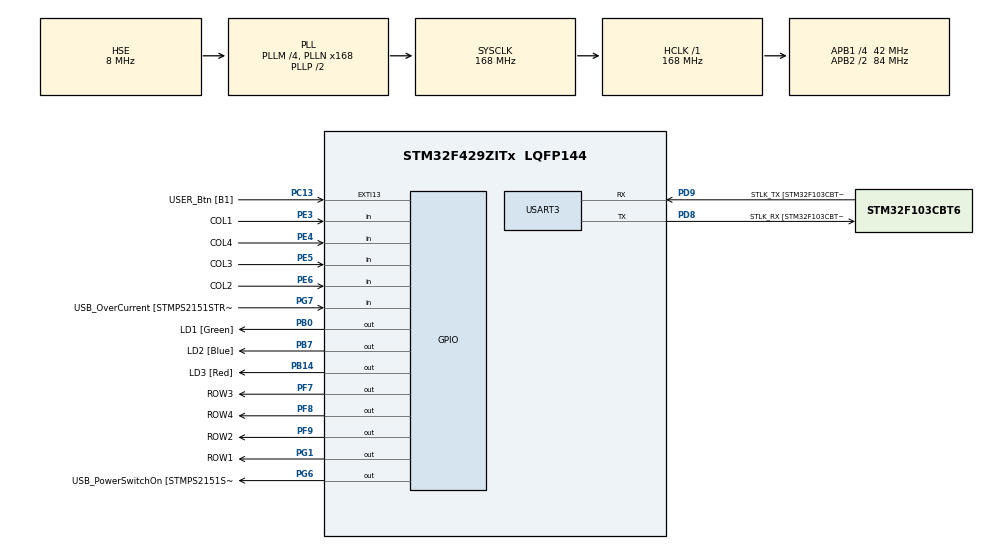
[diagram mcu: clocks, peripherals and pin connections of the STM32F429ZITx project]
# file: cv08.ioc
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Mcu.Family=STM32F4
Mcu.Name=STM32F429ZITx
Mcu.Package=LQFP144
NVIC.PriorityGroup=NVIC_PRIORITYGROUP_4
NVIC.TIM3_IRQn=true\:0\:0\:false\:false\:true\:true\:true
PA1.GPIO_Label=RMII_REF_CLK [LAN8742A-CZ-TR_REFCLK0]
PA1.Signal=ETH_REF_CLK
PA10.GPIO_Label=USB_ID
PA10.Signal=USB_OTG_FS_ID
PA11.GPIO_Label=USB_DM
PA11.Signal=USB_OTG_FS_DM
PA12.GPIO_Label=USB_DP
PA12.Signal=USB_OTG_FS_DP
PA13.GPIO_Label=TMS
PA13.Mode=Serial_Wire
PA13.Signal=SYS_JTMS-SWDIO
PA14.GPIO_Label=TCK
PA14.Mode=Serial_Wire
PA14.Signal=SYS_JTCK-SWCLK
PA2.GPIO_Label=RMII_MDIO [LAN8742A-CZ-TR_MDIO]
PA2.Signal=ETH_MDIO
PA7.GPIO_Label=RMII_CRS_DV [LAN8742A-CZ-TR_CRS_DV]
PA7.Signal=ETH_CRS_DV
PA8.GPIO_Label=USB_SOF [TP1]
PA8.Signal=USB_OTG_FS_SOF
PA9.GPIO_Label=USB_VBUS
PA9.Signal=USB_OTG_FS_VBUS
PB0.GPIO_Label=LD1 [Green]
PB0.Signal=GPIO_Output
PB13.GPIO_Label=RMII_TXD1 [LAN8742A-CZ-TR_TXD1]
PB13.Signal=ETH_TXD1
PB14.GPIO_Label=LD3 [Red]
PB14.Signal=GPIO_Output
PB7.GPIO_Label=LD2 [Blue]
PB7.Signal=GPIO_Output
PC1.GPIO_Label=RMII_MDC [LAN8742A-CZ-TR_MDC]
PC1.Signal=ETH_MDC
PC13.GPIO_Label=USER_Btn [B1]
PC13.Signal=GPXTI13
PC14/OSC32_IN.Mode=LSE-External-Oscillator
PC14/OSC32_IN.Signal=RCC_OSC32_IN
PC15/OSC32_OUT.Mode=LSE-External-Oscillator
PC15/OSC32_OUT.Signal=RCC_OSC32_OUT
PC4.GPIO_Label=RMII_RXD0 [LAN8742A-CZ-TR_RXD0]
PC4.Signal=ETH_RXD0
PC5.GPIO_Label=RMII_RXD1 [LAN8742A-CZ-TR_RXD1]
PC5.Signal=ETH_RXD1
PD8.GPIO_Label=STLK_RX [STM32F103CBT6_PA3]
PD8.Mode=Asynchronous
PD8.Signal=USART3_TX
PD9.GPIO_Label=STLK_TX [STM32F103CBT6_PA2]
PD9.Mode=Asynchronous
PD9.Signal=USART3_RX
PE3.GPIO_Label=COL1
PE3.GPIO_PuPd=GPIO_PULLUP
PE3.Signal=GPIO_Input
PE4.GPIO_Label=COL4
PE4.GPIO_PuPd=GPIO_PULLUP
PE4.Signal=GPIO_Input
PE5.GPIO_Label=COL3
PE5.GPIO_PuPd=GPIO_PULLUP
PE5.Signal=GPIO_Input
PE6.GPIO_Label=COL2
PE6.GPIO_PuPd=GPIO_PULLUP
PE6.Signal=GPIO_Input
PF7.GPIO_Label=ROW3
PF7.GPIO_ModeDefaultOutputPP=GPIO_MODE_OUTPUT_OD
PF7.Signal=GPIO_Output
PF8.GPIO_Label=ROW4
PF8.GPIO_ModeDefaultOutputPP=GPIO_MODE_OUTPUT_OD
PF8.Signal=GPIO_Output
PF9.GPIO_Label=ROW2
PF9.GPIO_ModeDefaultOutputPP=GPIO_MODE_OUTPUT_OD
PF9.Signal=GPIO_Output
PG1.GPIO_Label=ROW1
PG1.GPIO_ModeDefaultOutputPP=GPIO_MODE_OUTPUT_OD
PG1.Signal=GPIO_Output
PG11.GPIO_Label=RMII_TX_EN [LAN8742A-CZ-TR_TXEN]
PG11.Signal=ETH_TX_EN
PG13.GPIO_Label=RMII_TXD0 [LAN8742A-CZ-TR_TXD0]
PG13.Signal=ETH_TXD0
PG6.GPIO_Label=USB_PowerSwitchOn [STMPS2151STR_EN]
PG6.Signal=GPIO_Output
PG7.GPIO_Label=USB_OverCurrent [STMPS2151STR_FAULT]
PG7.Signal=GPIO_Input
PH0/OSC_IN.GPIO_Label=MCO [STM32F103CBT6_PA8]
PH0/OSC_IN.Mode=HSE-External-Clock-Source
PH0/OSC_IN.Signal=RCC_OSC_IN
PH1/OSC_OUT.Mode=HSE-External-Clock-Source
PH1/OSC_OUT.Signal=RCC_OSC_OUT
ProjectManager.HeapSize=0x200
ProjectManager.StackSize=0x400
ProjectManager.TargetToolchain=STM32CubeIDE
RCC.48MHZClocksFreq_Value=48000000
RCC.AHBFreq_Value=168000000
RCC.APB1CLKDivider=RCC_HCLK_DIV4
RCC.APB1Freq_Value=42000000
RCC.APB1TimFreq_Value=84000000
RCC.APB2CLKDivider=RCC_HCLK_DIV2
RCC.APB2Freq_Value=84000000
RCC.APB2TimCLKDivider=2
RCC.APB2TimFreq_Value=168000000
RCC.CortexFreq_Value=168000000
RCC.HCLKFreq_Value=168000000
RCC.HSE_VALUE=8000000
RCC.HSI_VALUE=16000000
RCC.PLLM=4
RCC.PLLMUL=RCC_PLL_MUL9
RCC.PLLN=168
RCC.PLLQ=7
RCC.PLLSourceVirtual=RCC_PLLSOURCE_HSE
RCC.PRESCALERUSB=RCC_USBCLKSOURCE_PLL_DIV1_5
RCC.SYSCLKFreq_VALUE=168000000
RCC.SYSCLKSource=RCC_SYSCLKSOURCE_PLLCLK
RCC.SYSCLKSourceVirtual=RCC_SYSCLKSOURCE_PLLCLK
RCC.USBFreq_Value=48000000
RCC.VCOOutputFreq_Value=336000000
TIM3.AutoReloadPreload=TIM_AUTORELOAD_PRELOAD_ENABLE
TIM3.Period=99
TIM3.Prescaler=8399
USART3.VirtualMode=VM_ASYNC
VP_TIM3_VS_ClockSourceINT.Mode=Internal
board=NUCLEO-F429ZI

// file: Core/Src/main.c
/* USER CODE BEGIN Header */
/**
  ******************************************************************************
  * @file           : main.c
  * @brief          : Main program body
  ******************************************************************************
  * @attention
  *
  * <h2><center>&copy; Copyright (c) 2021 STMicroelectronics.
  * All rights reserved.</center></h2>
  *
  * This software component is licensed by ST under BSD 3-Clause license,
  * the "License"; You may not use this file except in compliance with the
  * License. You may obtain a copy of the License at:
  *                        opensource.org/licenses/BSD-3-Clause
  *
  ******************************************************************************
  */
/* USER CODE END Header */
#include "main.h"

/* USER CODE BEGIN Includes */
#include <stdio.h>
/* USER CODE END Includes */

/* USER CODE BEGIN PD */
int __io_putchar(int ch)
	{
	 ITM_SendChar(ch);
	return 0;
	}
/* USER CODE END PD */

TIM_HandleTypeDef htim3;

UART_HandleTypeDef huart3;

/* USER CODE BEGIN PV */
volatile int8_t key = -1;
/* USER CODE END PV */

void SystemClock_Config(void);
static void MX_GPIO_Init(void);
static void MX_USART3_UART_Init(void);
static void MX_TIM3_Init(void);

int main(void)
{

  /* MCU Configuration--------------------------------------------------------*/

  /* Reset of all peripherals, Initializes the Flash interface and the Systick. */
  HAL_Init();

  /* Configure the system clock */
  SystemClock_Config();

  /* Initialize all configured peripherals */
  MX_GPIO_Init();
  MX_USART3_UART_Init();
  MX_TIM3_Init();
  /* USER CODE BEGIN 2 */
  HAL_TIM_Base_Start_IT(&htim3); //povoleni casove zakladny
  /* USER CODE END 2 */

  /* Infinite loop */
  while (1)
  {

    /* USER CODE BEGIN 3 */
	static const uint8_t code[5] = { 1, 1, 1, 1, 1 };
	static uint8_t pos = 0;
	static uint32_t last_time;

	/*printf("stisknuto: %d \n", key);
	key=-1;
	HAL_Delay(500);*/

	if (key != -1)
		{

			HAL_Delay(500);

			if (key == code[pos])
			{
				printf("%d correct \n", pos+1);
				printf("stisknuto: %d \n", key);
				pos++;

				last_time = HAL_GetTick();

				if (pos == (sizeof(code)/sizeof(code[0])))
				{
					printf("right code \n");
					HAL_GPIO_WritePin(LD1_GPIO_Port, LD1_Pin, GPIO_PIN_SET);
					HAL_Delay(5000);
					HAL_GPIO_WritePin(LD1_GPIO_Port, LD1_Pin, GPIO_PIN_RESET);
				}
			}

			else
			{
				printf("%d incorrect. \n", pos+1);
				pos = 0;
			}

			HAL_Delay(100);
			key = -1;
		}

		if ((HAL_GetTick()-last_time >= 5000) && (pos != 0))
		  {
			printf("Time out \n");
			pos = 0;
		  }

  }
  /* USER CODE END 3 */
}

void SystemClock_Config(void)
{
  RCC_OscInitTypeDef RCC_OscInitStruct = {0};
  RCC_ClkInitTypeDef RCC_ClkInitStruct = {0};

  /** Configure the main internal regulator output voltage
  */
  __HAL_RCC_PWR_CLK_ENABLE();
  __HAL_PWR_VOLTAGESCALING_CONFIG(PWR_REGULATOR_VOLTAGE_SCALE1);
  /** Initializes the RCC Oscillators according to the specified parameters
  * in the RCC_OscInitTypeDef structure.
  */
  RCC_OscInitStruct.OscillatorType = RCC_OSCILLATORTYPE_HSE;
  RCC_OscInitStruct.HSEState = RCC_HSE_BYPASS;
  RCC_OscInitStruct.PLL.PLLState = RCC_PLL_ON;
  RCC_OscInitStruct.PLL.PLLSource = RCC_PLLSOURCE_HSE;
  RCC_OscInitStruct.PLL.PLLM = 4;
  RCC_OscInitStruct.PLL.PLLN = 168;
  RCC_OscInitStruct.PLL.PLLP = RCC_PLLP_DIV2;
  RCC_OscInitStruct.PLL.PLLQ = 7;
  if (HAL_RCC_OscConfig(&RCC_OscInitStruct) != HAL_OK)
  {
    Error_Handler();
  }
  /** Initializes the CPU, AHB and APB buses clocks
  */
  RCC_ClkInitStruct.ClockType = RCC_CLOCKTYPE_HCLK|RCC_CLOCKTYPE_SYSCLK
                              |RCC_CLOCKTYPE_PCLK1|RCC_CLOCKTYPE_PCLK2;
  RCC_ClkInitStruct.SYSCLKSource = RCC_SYSCLKSOURCE_PLLCLK;
  RCC_ClkInitStruct.AHBCLKDivider = RCC_SYSCLK_DIV1;
  RCC_ClkInitStruct.APB1CLKDivider = RCC_HCLK_DIV4;
  RCC_ClkInitStruct.APB2CLKDivider = RCC_HCLK_DIV2;

  if (HAL_RCC_ClockConfig(&RCC_ClkInitStruct, FLASH_LATENCY_5) != HAL_OK)
  {
    Error_Handler();
  }
}

static void MX_TIM3_Init(void)
{

  TIM_ClockConfigTypeDef sClockSourceConfig = {0};
  TIM_MasterConfigTypeDef sMasterConfig = {0};

  htim3.Instance = TIM3;
  htim3.Init.Prescaler = 8399;
  htim3.Init.CounterMode = TIM_COUNTERMODE_UP;
  htim3.Init.Period = 99;
  htim3.Init.ClockDivision = TIM_CLOCKDIVISION_DIV1;
  htim3.Init.AutoReloadPreload = TIM_AUTORELOAD_PRELOAD_ENABLE;
  if (HAL_TIM_Base_Init(&htim3) != HAL_OK)
  {
    Error_Handler();
  }
  sClockSourceConfig.ClockSource = TIM_CLOCKSOURCE_INTERNAL;
  if (HAL_TIM_ConfigClockSource(&htim3, &sClockSourceConfig) != HAL_OK)
  {
    Error_Handler();
  }
  sMasterConfig.MasterOutputTrigger = TIM_TRGO_RESET;
  sMasterConfig.MasterSlaveMode = TIM_MASTERSLAVEMODE_DISABLE;
  if (HAL_TIMEx_MasterConfigSynchronization(&htim3, &sMasterConfig) != HAL_OK)
  {
    Error_Handler();
  }

}

static void MX_USART3_UART_Init(void)
{

  huart3.Instance = USART3;
  huart3.Init.BaudRate = 115200;
  huart3.Init.WordLength = UART_WORDLENGTH_8B;
  huart3.Init.StopBits = UART_STOPBITS_1;
  huart3.Init.Parity = UART_PARITY_NONE;
  huart3.Init.Mode = UART_MODE_TX_RX;
  huart3.Init.HwFlowCtl = UART_HWCONTROL_NONE;
  huart3.Init.OverSampling = UART_OVERSAMPLING_16;
  if (HAL_UART_Init(&huart3) != HAL_OK)
  {
    Error_Handler();
  }

}

static void MX_GPIO_Init(void)
{
  GPIO_InitTypeDef GPIO_InitStruct = {0};

  /* GPIO Ports Clock Enable */
  __HAL_RCC_GPIOE_CLK_ENABLE();
  __HAL_RCC_GPIOC_CLK_ENABLE();
  __HAL_RCC_GPIOF_CLK_ENABLE();
  __HAL_RCC_GPIOH_CLK_ENABLE();
  __HAL_RCC_GPIOA_CLK_ENABLE();
  __HAL_RCC_GPIOB_CLK_ENABLE();
  __HAL_RCC_GPIOG_CLK_ENABLE();
  __HAL_RCC_GPIOD_CLK_ENABLE();

  /*Configure GPIO pin Output Level */
  HAL_GPIO_WritePin(GPIOF, ROW3_Pin|ROW4_Pin|ROW2_Pin, GPIO_PIN_RESET);

  /*Configure GPIO pin Output Level */
  HAL_GPIO_WritePin(GPIOB, LD1_Pin|LD3_Pin|LD2_Pin, GPIO_PIN_RESET);

  /*Configure GPIO pin Output Level */
  HAL_GPIO_WritePin(GPIOG, ROW1_Pin|USB_PowerSwitchOn_Pin, GPIO_PIN_RESET);

  /*Configure GPIO pins : COL1_Pin COL4_Pin COL3_Pin COL2_Pin */
  GPIO_InitStruct.Pin = COL1_Pin|COL4_Pin|COL3_Pin|COL2_Pin;
  GPIO_InitStruct.Mode = GPIO_MODE_INPUT;
  GPIO_InitStruct.Pull = GPIO_PULLUP;
  HAL_GPIO_Init(GPIOE, &GPIO_InitStruct);

  /*Configure GPIO pin : USER_Btn_Pin */
  GPIO_InitStruct.Pin = USER_Btn_Pin;
  GPIO_InitStruct.Mode = GPIO_MODE_IT_RISING;
  GPIO_InitStruct.Pull = GPIO_NOPULL;
  HAL_GPIO_Init(USER_Btn_GPIO_Port, &GPIO_InitStruct);

  /*Configure GPIO pins : ROW3_Pin ROW4_Pin ROW2_Pin */
  GPIO_InitStruct.Pin = ROW3_Pin|ROW4_Pin|ROW2_Pin;
  GPIO_InitStruct.Mode = GPIO_MODE_OUTPUT_OD;
  GPIO_InitStruct.Pull = GPIO_NOPULL;
  GPIO_InitStruct.Speed = GPIO_SPEED_FREQ_LOW;
  HAL_GPIO_Init(GPIOF, &GPIO_InitStruct);

  /*Configure GPIO pins : RMII_MDC_Pin RMII_RXD0_Pin RMII_RXD1_Pin */
  GPIO_InitStruct.Pin = RMII_MDC_Pin|RMII_RXD0_Pin|RMII_RXD1_Pin;
  GPIO_InitStruct.Mode = GPIO_MODE_AF_PP;
  GPIO_InitStruct.Pull = GPIO_NOPULL;
  GPIO_InitStruct.Speed = GPIO_SPEED_FREQ_VERY_HIGH;
  GPIO_InitStruct.Alternate = GPIO_AF11_ETH;
  HAL_GPIO_Init(GPIOC, &GPIO_InitStruct);

  /*Configure GPIO pins : RMII_REF_CLK_Pin RMII_MDIO_Pin RMII_CRS_DV_Pin */
  GPIO_InitStruct.Pin = RMII_REF_CLK_Pin|RMII_MDIO_Pin|RMII_CRS_DV_Pin;
  GPIO_InitStruct.Mode = GPIO_MODE_AF_PP;
  GPIO_InitStruct.Pull = GPIO_NOPULL;
  GPIO_InitStruct.Speed = GPIO_SPEED_FREQ_VERY_HIGH;
  GPIO_InitStruct.Alternate = GPIO_AF11_ETH;
  HAL_GPIO_Init(GPIOA, &GPIO_InitStruct);

  /*Configure GPIO pins : LD1_Pin LD3_Pin LD2_Pin */
  GPIO_InitStruct.Pin = LD1_Pin|LD3_Pin|LD2_Pin;
  GPIO_InitStruct.Mode = GPIO_MODE_OUTPUT_PP;
  GPIO_InitStruct.Pull = GPIO_NOPULL;
  GPIO_InitStruct.Speed = GPIO_SPEED_FREQ_LOW;
  HAL_GPIO_Init(GPIOB, &GPIO_InitStruct);

  /*Configure GPIO pin : ROW1_Pin */
  GPIO_InitStruct.Pin = ROW1_Pin;
  GPIO_InitStruct.Mode = GPIO_MODE_OUTPUT_OD;
  GPIO_InitStruct.Pull = GPIO_NOPULL;
  GPIO_InitStruct.Speed = GPIO_SPEED_FREQ_LOW;
  HAL_GPIO_Init(ROW1_GPIO_Port, &GPIO_InitStruct);

  /*Configure GPIO pin : RMII_TXD1_Pin */
  GPIO_InitStruct.Pin = RMII_TXD1_Pin;
  GPIO_InitStruct.Mode = GPIO_MODE_AF_PP;
  GPIO_InitStruct.Pull = GPIO_NOPULL;
  GPIO_InitStruct.Speed = GPIO_SPEED_FREQ_VERY_HIGH;
  GPIO_InitStruct.Alternate = GPIO_AF11_ETH;
  HAL_GPIO_Init(RMII_TXD1_GPIO_Port, &GPIO_InitStruct);

  /*Configure GPIO pin : USB_PowerSwitchOn_Pin */
  GPIO_InitStruct.Pin = USB_PowerSwitchOn_Pin;
  GPIO_InitStruct.Mode = GPIO_MODE_OUTPUT_PP;
  GPIO_InitStruct.Pull = GPIO_NOPULL;
  GPIO_InitStruct.Speed = GPIO_SPEED_FREQ_LOW;
  HAL_GPIO_Init(USB_PowerSwitchOn_GPIO_Port, &GPIO_InitStruct);

  /*Configure GPIO pin : USB_OverCurrent_Pin */
  GPIO_InitStruct.Pin = USB_OverCurrent_Pin;
  GPIO_InitStruct.Mode = GPIO_MODE_INPUT;
  GPIO_InitStruct.Pull = GPIO_NOPULL;
  HAL_GPIO_Init(USB_OverCurrent_GPIO_Port, &GPIO_InitStruct);

  /*Configure GPIO pins : USB_SOF_Pin USB_ID_Pin USB_DM_Pin USB_DP_Pin */
  GPIO_InitStruct.Pin = USB_SOF_Pin|USB_ID_Pin|USB_DM_Pin|USB_DP_Pin;
  GPIO_InitStruct.Mode = GPIO_MODE_AF_PP;
  GPIO_InitStruct.Pull = GPIO_NOPULL;
  GPIO_InitStruct.Speed = GPIO_SPEED_FREQ_VERY_HIGH;
  GPIO_InitStruct.Alternate = GPIO_AF10_OTG_FS;
  HAL_GPIO_Init(GPIOA, &GPIO_InitStruct);

  /*Configure GPIO pin : USB_VBUS_Pin */
  GPIO_InitStruct.Pin = USB_VBUS_Pin;
  GPIO_InitStruct.Mode = GPIO_MODE_INPUT;
  GPIO_InitStruct.Pull = GPIO_NOPULL;
  HAL_GPIO_Init(USB_VBUS_GPIO_Port, &GPIO_InitStruct);

  /*Configure GPIO pins : RMII_TX_EN_Pin RMII_TXD0_Pin */
  GPIO_InitStruct.Pin = RMII_TX_EN_Pin|RMII_TXD0_Pin;
  GPIO_InitStruct.Mode = GPIO_MODE_AF_PP;
  GPIO_InitStruct.Pull = GPIO_NOPULL;
  GPIO_InitStruct.Speed = GPIO_SPEED_FREQ_VERY_HIGH;
  GPIO_InitStruct.Alternate = GPIO_AF11_ETH;
  HAL_GPIO_Init(GPIOG, &GPIO_InitStruct);

}

/* USER CODE BEGIN 4 */
void HAL_TIM_PeriodElapsedCallback(TIM_HandleTypeDef *htim)
{
 static int row = 0;
 static const int keyboard[4][4] = {
 { 1, 2, 3, 21 },
 { 4, 5, 6, 22 },
 { 7, 8, 9, 23 },
 { 11, 0, 12, 24 },
 };
 if (key == -1) {
 if (HAL_GPIO_ReadPin(COL1_GPIO_Port, COL1_Pin) == GPIO_PIN_RESET) key = keyboard[row][0];
 if (HAL_GPIO_ReadPin(COL2_GPIO_Port, COL2_Pin) == GPIO_PIN_RESET) key = keyboard[row][1];
 if (HAL_GPIO_ReadPin(COL3_GPIO_Port, COL3_Pin) == GPIO_PIN_RESET) key = keyboard[row][2];
 if (HAL_GPIO_ReadPin(COL4_GPIO_Port, COL4_Pin) == GPIO_PIN_RESET) key = keyboard[row][3];

 }
 HAL_GPIO_WritePin(ROW1_GPIO_Port, ROW1_Pin, GPIO_PIN_SET);
 HAL_GPIO_WritePin(ROW2_GPIO_Port, ROW2_Pin, GPIO_PIN_SET);
 HAL_GPIO_WritePin(ROW3_GPIO_Port, ROW3_Pin, GPIO_PIN_SET);
 HAL_GPIO_WritePin(ROW4_GPIO_Port, ROW4_Pin, GPIO_PIN_SET);
 switch (row) {
 case 0: row = 1; HAL_GPIO_WritePin(ROW2_GPIO_Port, ROW2_Pin, GPIO_PIN_RESET); break;
 case 1: row = 2; HAL_GPIO_WritePin(ROW3_GPIO_Port, ROW3_Pin, GPIO_PIN_RESET); break;
 case 2: row = 3; HAL_GPIO_WritePin(ROW4_GPIO_Port, ROW4_Pin, GPIO_PIN_RESET); break;
 case 3: row = 0; HAL_GPIO_WritePin(ROW1_GPIO_Port, ROW1_Pin, GPIO_PIN_RESET); break;

 }
}

/* USER CODE END 4 */

void Error_Handler(void)
{
  __disable_irq();
  while (1)
  {
  }
}

/************************ (C) COPYRIGHT STMicroelectronics *****END OF FILE****/
